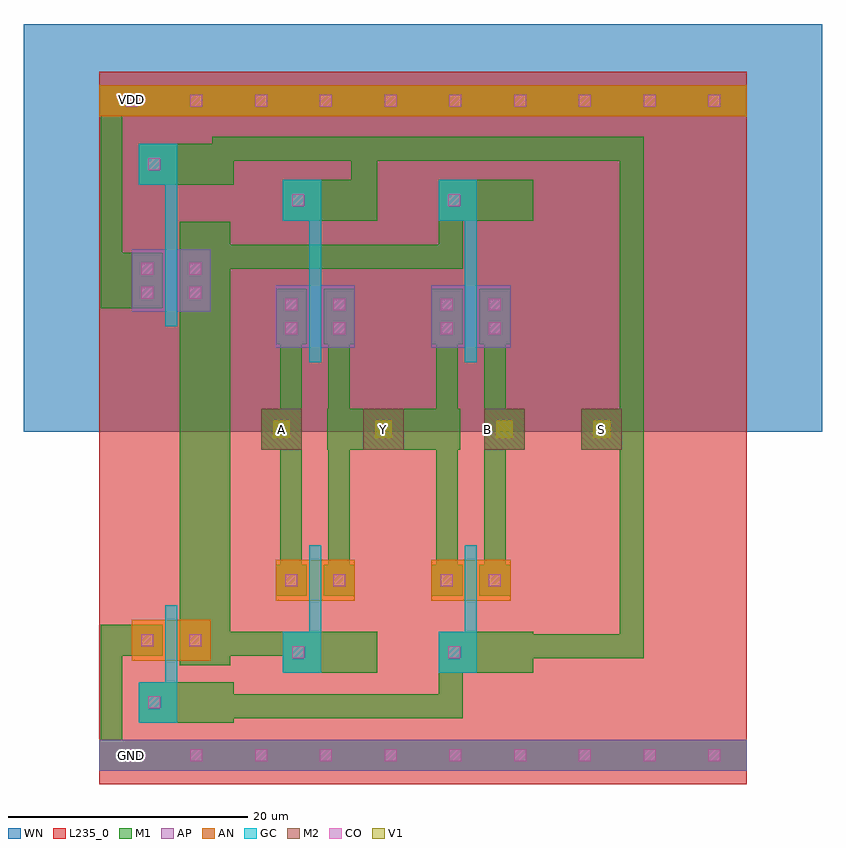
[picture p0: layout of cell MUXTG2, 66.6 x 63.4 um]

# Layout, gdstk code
import gdstk
lib = gdstk.Library(unit=1e-6, precision=1e-09)
def R(c, l, rs):  # rectangles x0, y0, x1, y1
    for r in rs: c.add(gdstk.rectangle(r[:2], r[2:], *l))
def A(c, l, x, y, w, h, nx, ny, dx, dy):  # array of equal rectangles
    R(c, l, [(x+i*dx, y+j*dy, x+i*dx+w, y+j*dy+h) for i in range(nx) for j in range(ny)])
AP = (3, 1)
AN = (3, 2)
GC = (8, 1)
CO = (11, 0)
M1 = (13, 0)
V1 = (19, 0)
M2 = (20, 0)
WN = (140, 0)
L235_0 = (235, 0)

muxtg2 = lib.new_cell('MUXTG2')
R(muxtg2, AP, [(0,1.1,54,3.7), (14.7,36.4,21.3,41.6), (27.7,36.4,34.3,41.6), (2.7,39.4,9.3,44.6)])
R(muxtg2, AN, [(2.7,10.3,9.3,13.7), (14.7,15.3,21.3,18.7), (27.7,15.3,34.3,18.7), (0,55.7,54,58.3)])
R(muxtg2, GC, [(3.3,5.1,6.5,8.5), (5.5,5.1,6.5,10.3), (15.3,9.3,18.5,12.7), (17.5,9.3,18.5,15.3), (28.3,9.3,31.5,12.7), (30.5,9.3,31.5,15.3), (17.5,41.6,18.5,47), (30.5,41.6,31.5,47), (5.5,44.6,6.5,50), (15.3,47,18.5,50.4), (28.3,47,31.5,50.4), (3.3,50,6.5,53.4)])
A(muxtg2, CO, 2.2, 1.9, 1, 1, 10, 2, 5.4, 54.6)
R(muxtg2, CO, [(4.1,6.3,5.1,7.3), (16.1,10.5,17.1,11.5), (29.1,10.5,30.1,11.5), (3.5,11.5,4.5,12.5), (7.5,11.5,8.5,12.5), (15.5,16.5,16.5,17.5), (19.5,16.5,20.5,17.5), (28.5,16.5,29.5,17.5), (32.5,16.5,33.5,17.5), (15.5,37.5,16.5,38.5), (19.5,37.5,20.5,38.5), (28.5,37.5,29.5,38.5), (32.5,37.5,33.5,38.5), (15.5,39.5,16.5,40.5), (19.5,39.5,20.5,40.5), (28.5,39.5,29.5,40.5), (32.5,39.5,33.5,40.5), (3.5,40.5,4.5,41.5), (7.5,40.5,8.5,41.5), (3.5,42.5,4.5,43.5), (7.5,42.5,8.5,43.5), (16.1,48.2,17.1,49.2), (29.1,48.2,30.1,49.2), (4.1,51.2,5.1,52.2)])
R(muxtg2, M1, [(0,1.1,54,3.7), (0.1,3.7,1.9,12.5), (3.3,5.1,11.2,8.5), (10.2,5.5,28.3,7.5), (28.3,5.5,30.3,9.5), (15.3,9.3,23.2,12.7), (28.3,9.3,36.2,12.7), (6.7,9.9,10.9,15.9), (6.7,9.9,10.9,46.9), (36.2,10.5,45.4,12.5), (43.4,10.5,45.4,54), (0.1,10.7,2.7,13.3), (1.9,10.7,5.3,12.5), (2.7,10.7,5.3,13.3), (6.7,10.7,15.9,12.7), (6.7,10.7,9.3,13.3), (14.7,15.7,17.3,18.3), (18.7,15.7,21.3,18.3), (27.7,15.7,30.3,18.3), (31.7,15.7,34.3,18.3), (15.1,17,16.9,39), (19.1,17,20.9,39), (28.1,17,29.9,39), (32.1,17,33.9,39), (13.5,27.9,16.9,31.3), (19,27.9,30.1,31.3), (32.1,27.9,35.5,31.3), (40.2,27.9,43.6,31.3), (14.7,36.7,17.3,41.3), (18.7,36.7,21.3,41.3), (27.7,36.7,30.3,41.3), (31.7,36.7,34.3,41.3), (6.7,38.3,10.9,46.9), (0.1,39.7,1.9,55.7), (0.1,39.7,2.7,44.3), (1.9,39.7,5.3,41.5), (2.7,39.7,5.3,44.3), (6.7,39.7,9.3,44.3), (6.7,43,29.9,45), (28.3,43,30.3,47.5), (15.3,47,23.2,50.4), (28.3,47,36.2,50.4), (3.3,50,11.2,53.4), (21,50,23.2,52), (9.4,52,45.4,54), (0,55.7,54,58.3)])
R(muxtg2, V1, [(14.5,28.9,15.9,30.3), (23,28.9,24.4,30.3), (33.1,28.9,34.5,30.3), (41.2,28.9,42.6,30.3)])
R(muxtg2, M2, [(13.5,27.9,16.9,31.3), (22,27.9,25.4,31.3), (32.1,27.9,35.5,31.3), (40.2,27.9,43.6,31.3)])
R(muxtg2, WN, [(-6.3,29.4,60.3,63.4), (7.7,29.4,28.3,48.6), (20.7,29.4,41.3,48.6), (-4.3,32.4,16.3,51.6)])
R(muxtg2, L235_0, [(0,0,54,59.4)])
muxtg2.add(gdstk.FlexPath([(6,9.1),(6,14.9)], 1, ends="flush", simple_path=True, layer=8, datatype=1))  # GC
muxtg2.add(gdstk.FlexPath([(18,14.1),(18,19.9)], 1, ends="flush", simple_path=True, layer=8, datatype=1))  # GC
muxtg2.add(gdstk.FlexPath([(31,14.1),(31,19.9)], 1, ends="flush", simple_path=True, layer=8, datatype=1))  # GC
muxtg2.add(gdstk.FlexPath([(18,35.2),(18,42.8)], 1, ends="flush", simple_path=True, layer=8, datatype=1))  # GC
muxtg2.add(gdstk.FlexPath([(31,35.2),(31,42.8)], 1, ends="flush", simple_path=True, layer=8, datatype=1))  # GC
muxtg2.add(gdstk.FlexPath([(6,38.2),(6,45.8)], 1, ends="flush", simple_path=True, layer=8, datatype=1))  # GC
muxtg2.add(gdstk.Label('A', (15.2,29.6), layer=49, texttype=0))
muxtg2.add(gdstk.Label('Y', (23.7,29.6), layer=49, texttype=0))
muxtg2.add(gdstk.Label('B', (32.4,29.6), layer=49, texttype=0))
muxtg2.add(gdstk.Label('S', (41.9,29.6), layer=49, texttype=0))
muxtg2.add(gdstk.Label('VDD', (2.7,57.1), layer=48, texttype=0))
muxtg2.add(gdstk.Label('GND', (2.7,2.4), layer=48, texttype=0))

lib.write_gds('MUXTG2.gds')
